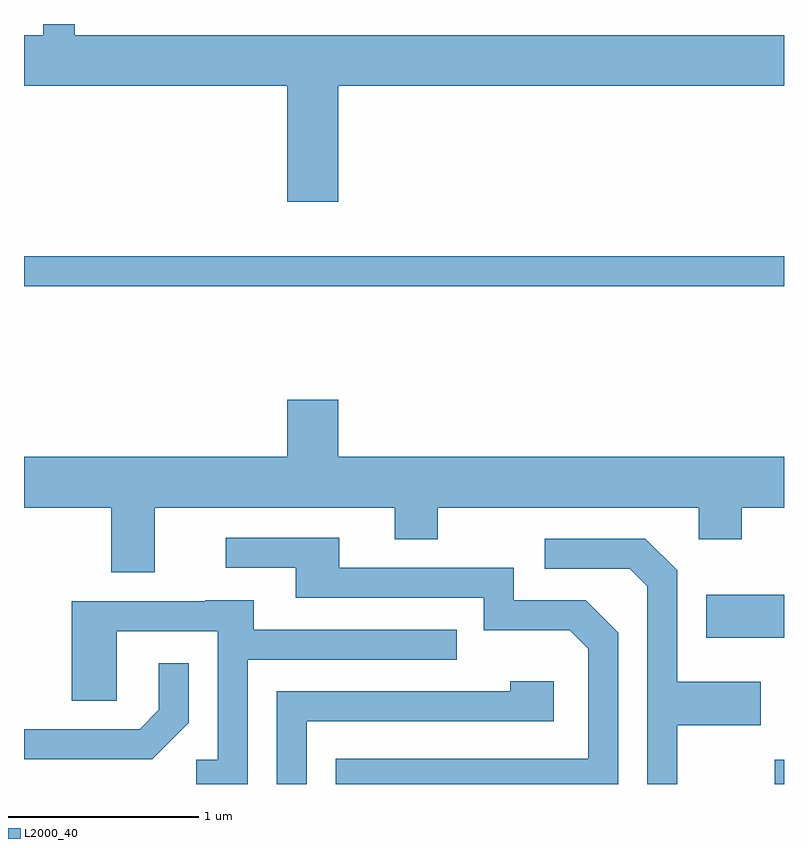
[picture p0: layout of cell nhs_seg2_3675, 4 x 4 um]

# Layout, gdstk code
import gdstk
lib = gdstk.Library(unit=1e-6, precision=1e-09)
def R(c, l, rs):  # rectangles x0, y0, x1, y1
    for r in rs: c.add(gdstk.rectangle(r[:2], r[2:], *l))
def P(c, l, *ps):  # polygons
    for p in ps: c.add(gdstk.Polygon(p, *l))
L2000_40 = (2000, 40)

nhs_seg2_3675 = lib.new_cell('nhs_seg2_3675')
R(nhs_seg2_3675, L2000_40, [(297.563,995.802,297.611,995.929), (297.201,996.571,297.611,996.799), (293.611,998.421,297.611,998.579)])
P(nhs_seg2_3675, L2000_40, [(295.264,999.476),(297.611,999.476),(297.611,999.744),(293.879,999.744),(293.879,999.802),(293.711,999.802),(293.711,999.744),(293.611,999.744),(293.611,999.476),(294.996,999.476),(294.996,998.866),(295.264,998.866)],
  [(294.299,997.256),(295.561,997.256),(295.561,997.091),(295.789,997.091),(295.789,997.256),(297.161,997.256),(297.161,997.091),(297.389,997.091),(297.389,997.256),(297.611,997.256),(297.611,997.524),(295.264,997.524),(295.264,997.824),(294.996,997.824),(294.996,997.524),(293.611,997.524),(293.611,997.256),(294.071,997.256),(294.071,996.916),(294.299,996.916)],
  [(296.739,996.597),(296.567,996.769),(296.189,996.769),(296.189,996.939),(295.269,996.939),(295.269,997.099),(294.673,997.099),(294.673,996.941),(295.041,996.941),(295.041,996.781),(296.031,996.781),(296.031,996.611),(296.484,996.611),(296.581,996.514),(296.581,995.934),(295.251,995.934),(295.251,995.802),(296.739,995.802)],
  [(297.049,996.111),(297.489,996.111),(297.489,996.339),(297.049,996.339),(297.049,996.927),(296.882,997.094),(296.353,997.094),(296.353,996.936),(296.799,996.936),(296.891,996.844),(296.891,995.802),(297.049,995.802)],
  [(294.789,996.456),(295.888,996.456),(295.888,996.614),(294.819,996.614),(294.819,996.769),(294.565,996.769),(294.565,996.764),(293.861,996.764),(293.861,996.241),(294.099,996.241),(294.099,996.606),(294.631,996.606),(294.631,995.929),(294.518,995.929),(294.518,995.802),(294.789,995.802)],
  [(294.479,996.124),(294.479,996.438),(294.321,996.438),(294.321,996.192),(294.219,996.089),(293.611,996.089),(293.611,995.931),(294.287,995.931)],
  [(295.099,996.131),(296.399,996.131),(296.399,996.344),(296.171,996.344),(296.171,996.289),(294.941,996.289),(294.941,995.802),(295.099,995.802)])

lib.write_gds('nhs_seg2_3675.gds')
